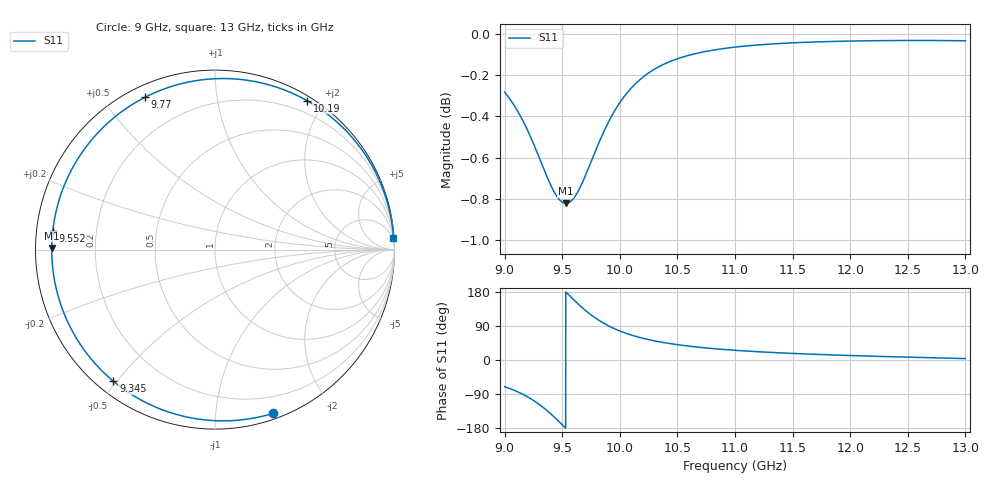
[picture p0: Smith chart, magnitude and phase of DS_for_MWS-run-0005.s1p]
! TOUCHSTONE file generated by CST DESIGN STUDIO
! Date and time: Tue Feb  4 18:20:18 2025
! Project name: C:\Work\MatlabApps\UnitCellOptimizationMatlab\CST\unitcell.cst
! Tree item: Tasks\Sweep1\SPara1\S-Parameters
! Header version: 2024
! Port assignment regex: !\s*Touchstone port\s*([0-9]+)\s*=\s*(CST MWS port|CST DES external port|CST DES block port)\s*(.+)\s* \(\"(.*)\"\)(\s*mode\s*([0-9]+))?.*
! Touchstone port assignment:
! Touchstone port 1 = CST DES external port 1 ("")
# GHz S MA R 50
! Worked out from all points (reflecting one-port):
!   4001 points, 9 GHz to 13 GHz, reference 50 ohm
!   lowest |S11| = -0.8 dB at 9.532 GHz (marker M1), VSWR 21.14, Z = 2.36 + j0.259 ohm
!   phase of S11 starts at -70 deg and turns -286 deg over the sweep
!   S11 on the Smith chart (normalised r, x): 9 GHz: 0.05, -1.42; 9.345 GHz: 0.05, -0.49; 9.552 GHz: 0.05, +0.06; 9.77 GHz: 0.05, +0.64; 10.19 GHz: 0.05, +1.79; 13 GHz: 2, +31
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9  0.9681 -70.4
9.095  0.9597 -81.5
9.202  0.9473 -97.7
9.277  0.9367 -112.1
9.345  0.9266 -127.6
9.387  0.9207 -138.4
9.431  0.9154 -150.5
9.5  0.9103 -170.9
9.532  0.9097 179.4
9.552  0.9099 173.3
9.606  0.9128 157.1
9.667  0.9193 139.9
9.718  0.9263 126.7
9.77  0.934 114.7
9.818  0.941 104.8
9.871  0.9482 95.2
9.935  0.9559 85.2
10  0.9624 76.6
10.09  0.9697 66.8
10.188  0.9756 58.3
10.331  0.9817 48.7
10.5  0.9863 40.4
10.721  0.9901 32.6
11  0.9928 25.6
11.5  0.9952 17.4
12  0.9962 11.8
12.5  0.9965 7.5
13  0.9963 3.7
